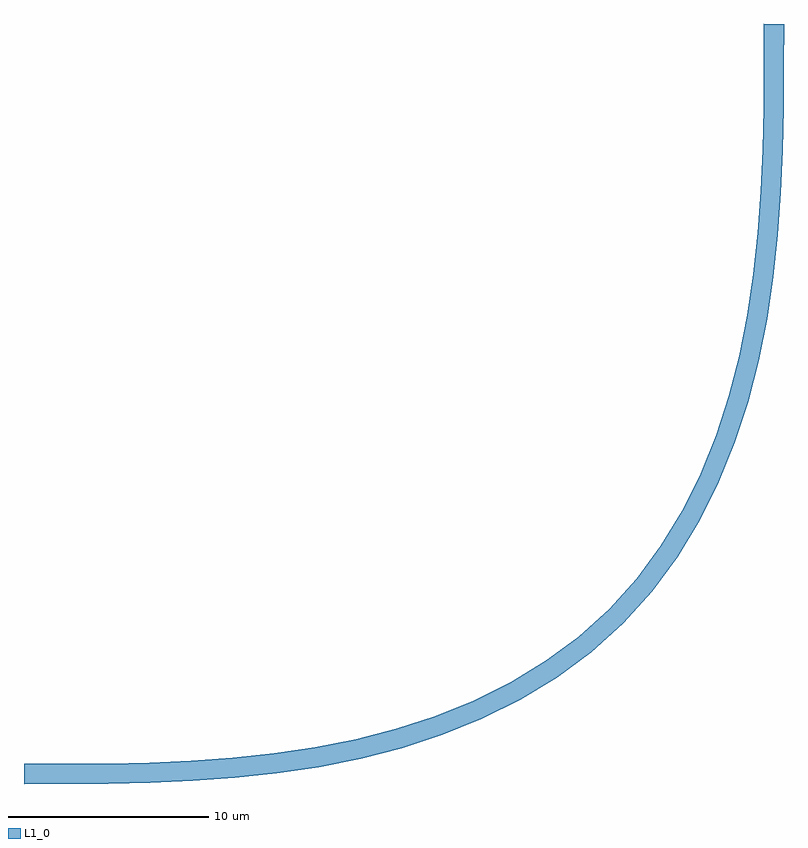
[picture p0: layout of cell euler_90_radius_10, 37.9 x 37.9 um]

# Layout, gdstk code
import gdstk
lib = gdstk.Library(unit=1e-6, precision=1e-09)
L1_0 = (1, 0)

euler_90_radius_10 = lib.new_cell('euler_90_radius_10')
euler_90_radius_10.add(gdstk.FlexPath([(0,0),(2.094,0.002),(4.189,0.019),(6.283,0.066),(8.375,0.156),(10.464,0.304),(12.547,0.526),(14.618,0.834),(16.672,1.243),(18.699,1.766),(20.69,2.416),(22.631,3.202),(24.505,4.136),(26.295,5.222),(27.978,6.467),(29.533,7.869),(30.935,9.423),(32.18,11.107),(33.266,12.897),(34.199,14.771),(34.986,16.712),(35.636,18.702),(36.159,20.73),(36.568,22.784),(36.876,24.855),(37.097,26.938),(37.246,29.027),(37.336,31.119),(37.382,33.213),(37.399,35.308),(37.402,37.402)], 1, ends="flush", simple_path=True, layer=1, datatype=0))  # L1_0

lib.write_gds('euler_90_radius_10.gds')
